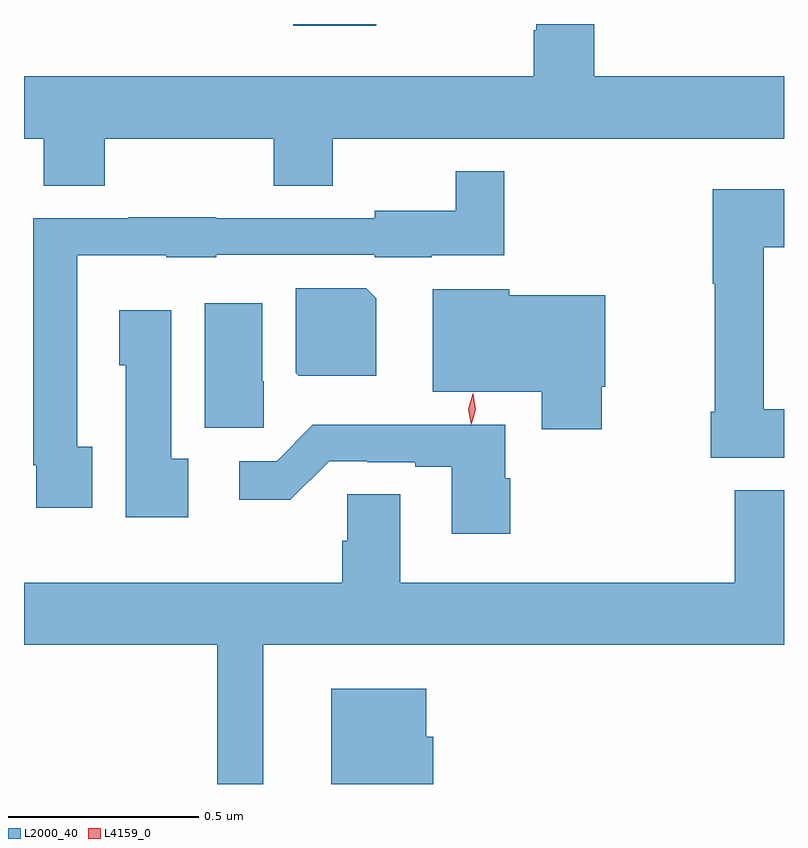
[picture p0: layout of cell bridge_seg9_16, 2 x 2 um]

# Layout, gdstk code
import gdstk
lib = gdstk.Library(unit=1e-6, precision=1e-09)
def R(c, l, rs):  # rectangles x0, y0, x1, y1
    for r in rs: c.add(gdstk.rectangle(r[:2], r[2:], *l))
def P(c, l, *ps):  # polygons
    for p in ps: c.add(gdstk.Polygon(p, *l))
L2000_40 = (2000, 40)
L4159_0 = (4159, 0)

bridge_seg9_16 = lib.new_cell('bridge_seg9_16')
R(bridge_seg9_16, L2000_40, [(934.363,1235.345,934.582,1235.35)])
P(bridge_seg9_16, L2000_40, [(933.867,1235.048),(934.312,1235.048),(934.312,1234.924),(934.467,1234.924),(934.467,1235.048),(935.655,1235.048),(935.655,1235.212),(935.156,1235.212),(935.156,1235.35),(935.003,1235.35),(935.003,1235.333),(934.996,1235.333),(934.996,1235.212),(933.655,1235.212),(933.655,1235.048),(933.707,1235.048),(933.707,1234.924),(933.867,1234.924)],
  [(933.835,1234.238),(933.795,1234.238),(933.795,1234.742),(934.029,1234.742),(934.029,1234.736),(934.161,1234.736),(934.161,1234.743),(934.578,1234.743),(934.578,1234.736),(934.728,1234.736),(934.728,1234.742),(934.919,1234.742),(934.919,1234.963),(934.791,1234.963),(934.791,1234.858),(934.578,1234.858),(934.578,1234.839),(934.161,1234.839),(934.161,1234.841),(933.929,1234.841),(933.929,1234.839),(933.679,1234.839),(933.679,1234.189),(933.687,1234.189),(933.687,1234.077),(933.835,1234.077)],
  [(935.655,1234.336),(935.602,1234.336),(935.602,1234.763),(935.655,1234.763),(935.655,1234.915),(935.468,1234.915),(935.468,1234.667),(935.473,1234.667),(935.473,1234.329),(935.462,1234.329),(935.462,1234.208),(935.655,1234.208)],
  [(934.582,1234.628),(934.556,1234.654),(934.37,1234.654),(934.37,1234.432),(934.378,1234.424),(934.582,1234.424)],
  [(935.176,1234.396),(935.184,1234.396),(935.184,1234.636),(934.932,1234.636),(934.932,1234.652),(934.73,1234.652),(934.73,1234.382),(935.018,1234.382),(935.018,1234.284),(935.176,1234.284)],
  [(934.286,1234.41),(934.282,1234.41),(934.282,1234.615),(934.13,1234.615),(934.13,1234.287),(934.286,1234.287)],
  [(934.087,1234.206),(934.042,1234.206),(934.042,1234.597),(933.905,1234.597),(933.905,1234.452),(933.923,1234.452),(933.923,1234.052),(934.087,1234.052)],
  [(934.934,1234.155),(934.921,1234.155),(934.921,1234.295),(934.415,1234.295),(934.32,1234.2),(934.221,1234.2),(934.221,1234.098),(934.356,1234.098),(934.458,1234.2),(934.558,1234.2),(934.558,1234.197),(934.685,1234.197),(934.685,1234.185),(934.781,1234.185),(934.781,1234.008),(934.934,1234.008)],
  [(934.285,1233.716),(935.655,1233.716),(935.655,1234.123),(935.525,1234.123),(935.525,1233.88),(934.645,1233.88),(934.645,1234.112),(934.506,1234.112),(934.506,1233.99),(934.493,1233.99),(934.493,1233.88),(933.655,1233.88),(933.655,1233.716),(934.164,1233.716),(934.164,1233.35),(934.285,1233.35)],
  [(934.732,1233.474),(934.714,1233.474),(934.714,1233.601),(934.463,1233.601),(934.463,1233.35),(934.732,1233.35)])
P(bridge_seg9_16, L4159_0, [(934.832,1234.295),(934.832,1234.295),(934.824,1234.336),(934.836,1234.377),(934.837,1234.377),(934.837,1234.377),(934.844,1234.335),(934.832,1234.295)])

lib.write_gds('bridge_seg9_16.gds')
